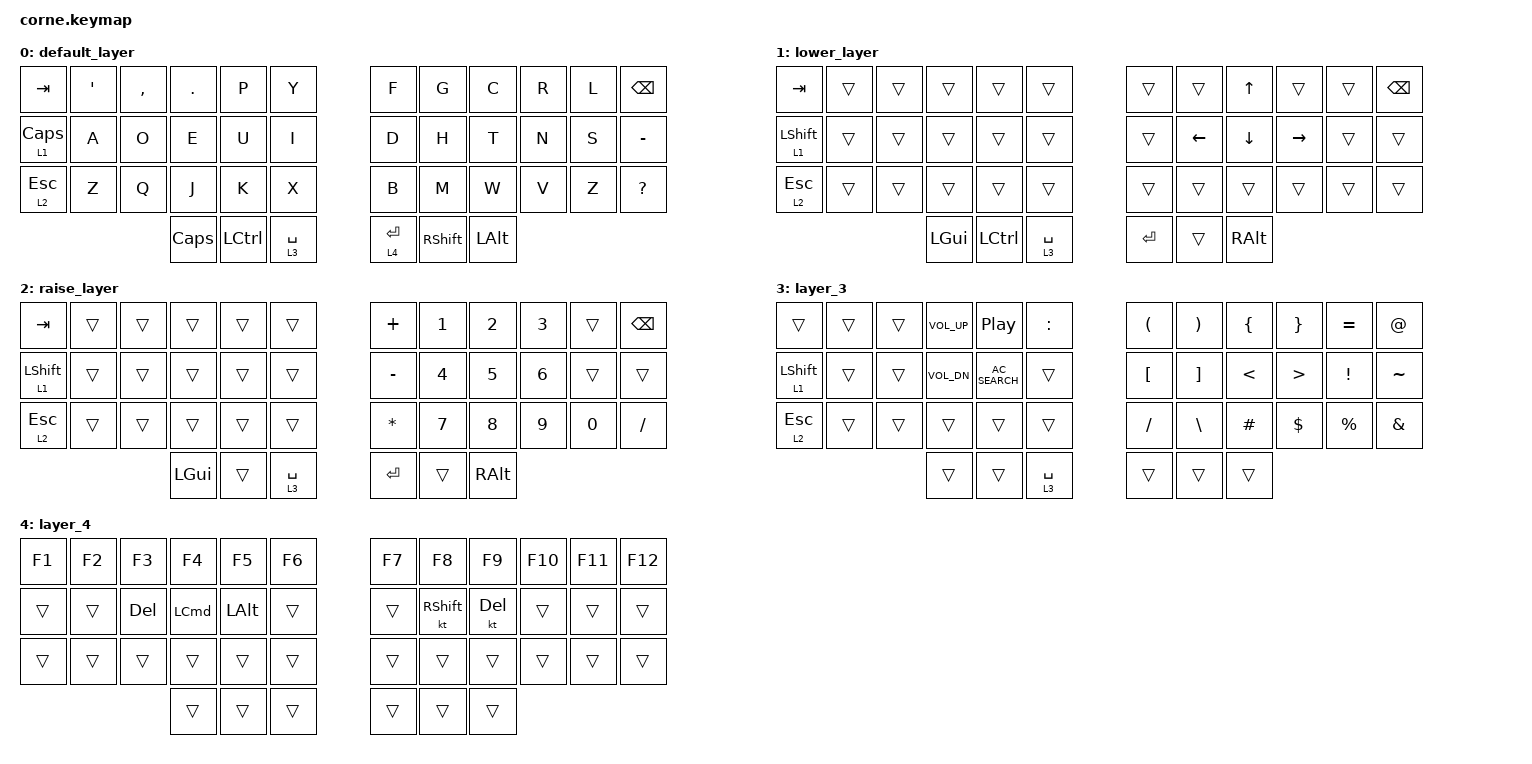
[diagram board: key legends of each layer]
/*
 * Copyright (c) 2020 The ZMK Contributors
 *
 * SPDX-License-Identifier: MIT
 */

#include <behaviors.dtsi>
#include <dt-bindings/zmk/keys.h>

/ {
    keymap {
        compatible = "zmk,keymap";

        default_layer {
            // -----------------------------------------------------------------------------------------
            // |  TAB |  Q  |  W  |  E  |  R  |  T  |   |  Y  |  U   |  I  |  O  |  P  | BKSP |
            // | CTRL |  A  |  S  |  D  |  F  |  G  |   |  H  |  J   |  K  |  L  |  ;  |  '   |
            // | SHFT |  Z  |  X  |  C  |  V  |  B  |   |  N  |  M   |  ,  |  .  |  /  | ESC  |
            //                    | GUI | LWR | SPC |   | ENT | RSE  | ALT |

            bindings = <
&kp TAB     &kp SQT  &kp COMMA  &kp PERIOD  &kp P             &kp Y          &kp F        &kp G            &kp C     &kp R  &kp L  &kp BSPC
&lt 1 CLCK  &kp A    &kp O      &kp E       &kp U             &kp I          &kp D        &kp H            &kp T     &kp N  &kp S  &kp MINUS
&lt 2 ESC   &kp Z    &kp Q      &kp J       &kp K             &kp X          &kp B        &kp M            &kp W     &kp V  &kp Z  &kp QUESTION
                                &kp CAPS    &kp LEFT_CONTROL  &lt 3 SPACE    &lt 4 ENTER  &kp RIGHT_SHIFT  &kp LALT
            >;
        };

        lower_layer {
            // -----------------------------------------------------------------------------------------
            // |  TAB |  1  |  2  |  3  |  4  |  5  |   |  6  |  7  |  8  |  9  |  0  | BKSP |
            // | BTCLR| BT1 | BT2 | BT3 | BT4 | BT5 |   | LFT | DWN |  UP | RGT |     |      |
            // | SHFT |     |     |     |     |     |   |     |     |     |     |     |      |
            //                    | GUI |     | SPC |   | ENT |     | ALT |

            bindings = <
&kp TAB           &trans  &trans  &trans    &trans            &trans         &trans   &trans          &kp UP_ARROW  &trans     &trans  &kp BSPC
&lt 1 LEFT_SHIFT  &trans  &trans  &trans    &trans            &trans         &trans   &kp LEFT_ARROW  &kp DOWN      &kp RIGHT  &trans  &trans
&lt 2 ESC         &trans  &trans  &trans    &trans            &trans         &trans   &trans          &trans        &trans     &trans  &trans
                                  &kp LGUI  &kp LEFT_CONTROL  &lt 3 SPACE    &kp RET  &trans          &kp RALT
            >;
        };

        raise_layer {
            // -----------------------------------------------------------------------------------------
            // |  TAB |  !  |  @  |  #  |  $  |  %  |   |  ^  |  &  |  *  |  (  |  )  | BKSP |
            // | CTRL |     |     |     |     |     |   |  -  |  =  |  [  |  ]  |  \  |  `   |
            // | SHFT |     |     |     |     |     |   |  _  |  +  |  {  |  }  | "|" |  ~   |
            //                    | GUI |     | SPC |   | ENT |     | ALT |

            bindings = <
&kp TAB           &trans  &trans  &trans    &trans  &trans         &kp PLUS      &kp N1  &kp N2    &kp N3  &trans  &kp BSPC
&lt 1 LEFT_SHIFT  &trans  &trans  &trans    &trans  &trans         &kp MINUS     &kp N4  &kp N5    &kp N6  &trans  &trans
&lt 2 ESC         &trans  &trans  &trans    &trans  &trans         &kp ASTERISK  &kp N7  &kp N8    &kp N9  &kp N0  &kp SLASH
                                  &kp LGUI  &trans  &lt 3 SPACE    &kp RET       &trans  &kp RALT
            >;
        };

        layer_3 {
            bindings = <
&trans            &trans  &trans  &kp C_VOLUME_UP  &kp C_PLAY_PAUSE  &kp COLON      &kp LEFT_PARENTHESIS  &kp RIGHT_PARENTHESIS  &kp LEFT_BRACE  &kp RIGHT_BRACE   &kp EQUAL        &kp AT_SIGN
&lt 1 LEFT_SHIFT  &trans  &trans  &kp C_VOL_DN     &kp C_AC_SEARCH   &trans         &kp LEFT_BRACKET      &kp RIGHT_BRACKET      &kp LESS_THAN   &kp GREATER_THAN  &kp EXCLAMATION  &kp TILDE
&lt 2 ESC         &trans  &trans  &trans           &trans            &trans         &kp SLASH             &kp BACKSLASH          &kp HASH        &kp DOLLAR        &kp PERCENT      &kp AMPERSAND
                                  &trans           &trans            &lt 3 SPACE    &trans                &trans                 &trans
            >;
        };

        layer_4 {
            bindings = <
&kp F1  &kp F2  &kp F3      &kp F4            &kp F5    &kp F6    &kp F7  &kp F8           &kp F9      &kp F10  &kp F11  &kp F12
&trans  &trans  &kp DELETE  &kp LEFT_COMMAND  &kp LALT  &trans    &trans  &kt RIGHT_SHIFT  &kt DELETE  &trans   &trans   &trans
&trans  &trans  &trans      &trans            &trans    &trans    &trans  &trans           &trans      &trans   &trans   &trans
                            &trans            &trans    &trans    &trans  &trans           &trans
            >;
        };
    };
};

&led_strip { chain-length = <27>; };
